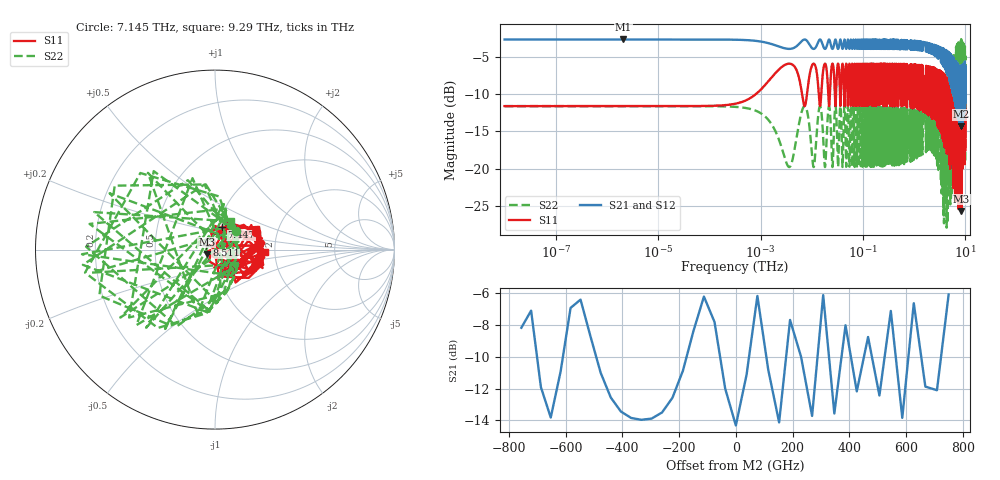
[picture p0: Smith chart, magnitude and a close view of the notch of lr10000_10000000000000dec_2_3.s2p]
! NPort=2 DATA=4501 NOISE=0 GROUPDELAY=0 COMPLEX_DATAFORMAT=RI
! NumOfBlock=1 NumOfParam=0
! .MODEL Smodel S TSTONEFILE=./link_rx/link_rx_s3/lr10000_10000000000000dec_2_3.s2p TYPE=S
!  -- The above .MODEL line can be used for the S element in the netlist.
# Hz S RI R  50
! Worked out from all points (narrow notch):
!   4501 points, 10 kHz to 10 THz, reference 50 ohm
!   highest |S21| = -2.65 dB at 2.08 MHz (marker M1); lowest = -14.3 dB at 8.204 THz (marker M2)
!   notch at M2: 11.6 dB deep, 127 GHz wide at half that depth
!   lowest |S11| = -25.7 dB at 8.279 THz (marker M3), VSWR 1.11, Z = 45.6 - j2.26 ohm
!   |S11| at or under -10 dB: 4.503 THz to 4.612 THz (109 GHz wide, 2.39 % of centre); 4.824 THz to 4.947 THz (123 GHz wide, 2.52 % of centre); 6.078 THz to end of sweep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
!   |S22| runs from -27.9 to -2.6 dB; largest |S21 - S12| = 1e-10
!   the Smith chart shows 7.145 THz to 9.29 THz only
!   S11 on the Smith chart (normalised r, x): 7.145 THz: 1.55, +0.32; 7.447 THz: 1.04, +0.27; 8.511 THz: 0.91, +0.04; 9.29 THz: 1.78, -0.06
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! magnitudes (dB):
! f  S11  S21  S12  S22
! 10 kHz  -11.6  -2.7  -2.7  -11.6
! 316.2 kHz  -11.6  -2.7  -2.7  -11.6
! 2.08 MHz  -11.6  -2.7  -2.7  -11.6
! 10 MHz  -11.6  -2.7  -2.7  -11.6
! 316.2 MHz  -11.3  -2.7  -2.7  -11.7
! 1.355 GHz  -8.4  -3.1  -3.1  -13.3
! 3.597 GHz  -5.9  -3.9  -3.9  -19.8
! 7.345 GHz  -11.6  -2.7  -2.7  -11.6
! 10 GHz  -6.2  -3.8  -3.8  -17.8
! 14.39 GHz  -11.6  -2.7  -2.7  -11.6
! 17.95 GHz  -5.9  -3.9  -3.9  -19.7
! 21.58 GHz  -11.5  -2.7  -2.7  -11.6
! 25.12 GHz  -5.9  -3.9  -3.9  -19.6
! 316.2 GHz  -6.3  -3.7  -3.7  -16.9
! 3.681 THz  -12.8  -6.0  -6.0  -21.4
! 7.145 THz  -12.1  -13.1  -13.1  -16.2
! 7.447 THz  -17.5  -8.2  -8.2  -5.1
! 8.204 THz  -11.6  -14.3  -14.3  -17.2
! 8.279 THz  -25.7  -6.2  -6.2  -2.6
! 8.511 THz  -25.4  -6.1  -6.1  -2.6
! 9.29 THz  -11.0  -12.2  -12.2  -14.9
! 10 THz  -10.8  -11.1  -11.1  -17.1
